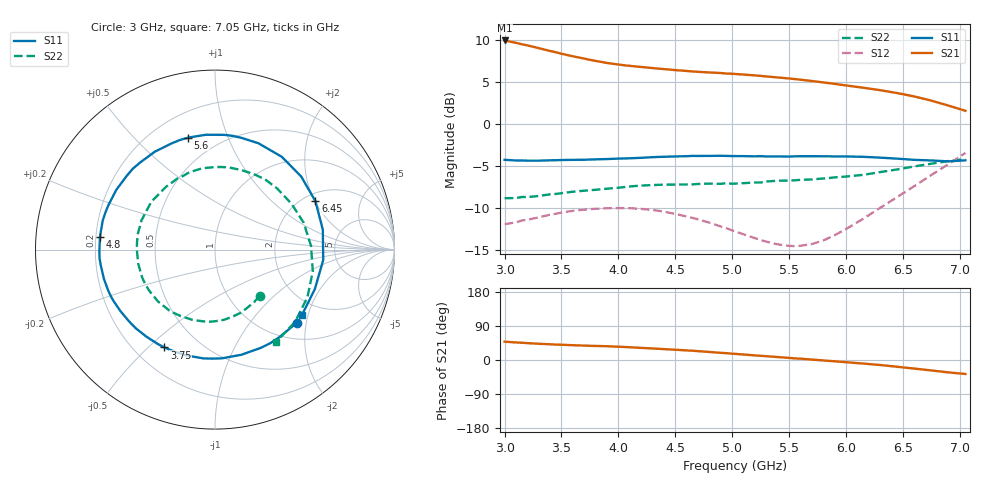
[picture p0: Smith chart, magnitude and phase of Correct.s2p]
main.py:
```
from src.reading import *
import re
import cmath
from datetime import datetime


def clean_lines(lines):
    valid_list = []
    for line in lines:
        # Start with !
        r = re.match("^[!\n\#]", line)
        if not r:
            valid_list.append(line.rstrip("\n"))
    return valid_list


def create_objects(path):
    file = open(path, 'r')
    lines = file.readlines()
    file.close()
    lines = clean_lines(lines)
    list_obj = []
    for line in lines:
        line = line.split()
        obj = Reading(line[0], line[1], line[2], line[3], line[4], line[5], line[6], line[7], line[8])
        list_obj.append(obj)
    return list_obj


def get_b_ac(thru, line):
    # T2 * inv(T1)
    new_t_mat = line.t_mat * thru.t_mat_inv
    # Getting b (a = t21, b = t22-t11, c = -t12)
    a = new_t_mat[1][0]
    b = (new_t_mat[1][1]) - (new_t_mat[0][0])
    c = -(new_t_mat[0][1])
    # x = (-b + sqre(b**2-4*ac))/2
    sqre = cmath.sqrt((b * b) - (4 * a * c))
    x1 = (-b + sqre) / (2 * a)
    x2 = (-b - sqre) / (2 * a)
    if abs(x1) < abs(x2):
        b = x1
        ac = x2
    else:
        b = x2
        ac = x1
    return b, ac


def get_aest(b, w1, ca):
    # Gamma = 1
    aest = (b - w1)/((w1*ca)-1)
    return aest


def get_correct_dut(dut, thru, line, open):
    b, ac = get_b_ac(thru, line)
    # with t1 - g = t22, f = t21/g, e = t12/g, d = t11/g
    g = thru.t22
    f = thru.t21/g
    e = thru.t12/g
    d = thru.t11/g
    w1 = open.s11
    w2 = open.s22
    ca = 1/ac
    beta_alfa = (e-b)/(d - (b*f))
    fi = ((ac*f) - d)/(ac - e)
    # Getting a
    aest = get_aest(b, w1, ca)
    term_1 = (d - (b*f))*(b-w1)*(1 + (beta_alfa*w2))
    term_2 = (1 - (ca*e))*(fi+w2)*((ca*w1)-1)
    a_temp = cmath.sqrt(term_1/term_2)
    a1 = +a_temp
    a2 = -a_temp
    dif_a1 = aest - a1
    dif_a2 = aest - a2
    if abs(dif_a1) < abs(dif_a2):
        a = a1
    else:
        a = a2
    # Getting c
    c = a/ac
    # Getting alfa
    alfa = ((d-(b*f))/(1 - (ca*e)))/a
    # Getting beta
    beta = beta_alfa*alfa
    # Getting r22Ro22
    r22ro22 = (g*(ac-e))/(ac-b)
    # Getting S11
    term_1 = r22ro22*(a-(b*c))*(alfa-(beta*fi))*((alfa*dut.t12)-(beta*dut.t11)+(b*beta*dut.t21)-(b*alfa*dut.t22))
    term_2 = (c*beta*dut.t11)-(c*alfa*dut.t12)-(a*beta*dut.t21)+(a*alfa*dut.t22)
    s11 = term_1/term_2
    # Getting S22
    term_1 = r22ro22*(a-(b*c))*(alfa-beta*fi)*((c*fi*dut.s12)-(c*dut.t11)+(a*(dut.t21 - (fi*dut.t22))))
    term_2 = (c*beta*dut.t11)-(c*alfa*dut.t12)-(a*beta*dut.t21)+(a*alfa*dut.t22)
    s22 = term_1/term_2
    # Getting S21
    term_1 = r22ro22*(a-(b*c))*(alfa-(beta*fi))
    term_2 = (c*beta*dut.t11)-(c*alfa*dut.t12)-(a*beta*dut.t21)+(a*alfa*dut.t22)
    s21 = term_1/term_2
    # Getting S12
    sub_term_1 = r22ro22*(a - (b*c))*(alfa-(beta*fi))*(dut.t11 - (fi*dut.t12)-(b*dut.t21)+(b*fi*dut.t22))
    sub_term_2 = (c*beta*dut.t11)-(c*alfa*dut.t12)-(a*beta*dut.t21)+(a*alfa*dut.t22)
    term_1 = (sub_term_1/sub_term_2)+(s11*s22)
    term_2 = s21
    s12 = term_1/term_2
    return dut.frequency, s11, s21, s12, s22


dut_path = 'DUT.s2p'
thru_path = 'thru.s2p'
line_path = 'line.s2p'
open_path = 'Open.s2p'

dut_list = create_objects(dut_path)
thru_list = create_objects(thru_path)
line_list = create_objects(line_path)
open_list = create_objects(open_path)

# Creating text file
file = open("Correct.s2p", "w")
# datetime object containing current date and time
now = datetime.now()
# dd/mm/YY H:M:S
dt_string = now.strftime("%d/%m/%Y %H:%M:%S")
file.write("! Created on " + dt_string + "\n")
file.write("! CINVESTAV" + "\n\n")

file.write("! S-Parameter data\n")
file.write("! freq S11 S21 S12 S22\n")
file.write("# Hz S RI R 50\n")
for i in range(len(dut_list)):
    frequency, s11, s21, s12, s22 = get_correct_dut(dut_list[i], thru_list[i], line_list[i], open_list[i])
    file.write(str(frequency) + " " + "{:.15f}".format(s11.real) + " " + "{:.15f}".format(s11.imag) + " "
               + "{:.15f}".format(s21.real) + " " + "{:.15f}".format(s21.imag) + " "
               + "{:.15f}".format(s12.real) + " " + "{:.15f}".format(s12.imag) + " "
               + "{:.15f}".format(s22.real) + " " + "{:.15f}".format(s22.imag) + "\n")
file.close()
```
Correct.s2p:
! Created on 14/12/2020 11:52:40
! CINVESTAV
! S-Parameter data
! freq S11 S21 S12 S22
# Hz S RI R 50
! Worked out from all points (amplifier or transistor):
!   48 points, 3 GHz to 7.05 GHz, reference 50 ohm
!   highest |S21| = 9.9 dB at 3 GHz (marker M1)
!   |S21| within 3 dB of that: start of sweep to 4.082 GHz
!   unconditionally stable (mu >= 1): 5.256 GHz to 5.952 GHz
!   at 3.6 GHz: K = 0.51, MSG = 9.2 dB, |S12| = -10.4 dB
!   at 4.8 GHz: K = 0.73, MSG = 8.9 dB, |S12| = -11.8 dB
!   at 7.05 GHz: K = 0.39, MSG = 2.5 dB, |S12| = -3.5 dB
!   S11 on the Smith chart (normalised r, x): 3 GHz: 1.35, -1.76; 3.75 GHz: 0.32, -0.56; 4.8 GHz: 0.22, +0.05; 5.6 GHz: 0.34, +0.73; 6.45 GHz: 2.30, +2.02; 7.05 GHz: 1.57, -1.83
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3e9  0.4554 -0.4077  2.086 2.349  -0.2097 -0.141  0.2506 -0.2601
3.4e9  0.0389 -0.6058  2.036 1.803  -0.287 0.0242  0.1385 -0.3547
3.75e9  -0.2818 -0.5449  1.911 1.466  -0.2435 0.193  -0.0324 -0.4018
4.35e9  -0.5806 -0.2592  1.859 1.053  0.028 0.3026  -0.3879 -0.1934
4.8e9  -0.6409 0.0725  1.888 0.733  0.1864 0.1785  -0.4091 0.1644
5.1e9  -0.5502 0.3325  1.905 0.4929  0.2054 0.0792  -0.2727 0.35
5.6e9  -0.15 0.6239  1.831 0.1129  0.1881 -0.000438  0.0752 0.4581
6e9  0.2429 0.5921  1.686 -0.1713  0.2308 -0.0504  0.3463 0.3406
6.45e9  0.5593 0.2703  1.454 -0.4674  0.2676 -0.2506  0.535 0.0206
6.75e9  0.603 -0.0578  1.221 -0.6367  0.1531 -0.4719  0.5149 -0.2657
7.05e9  0.4831 -0.3669  0.957 -0.7194  -0.1705 -0.6501  0.3392 -0.5164
